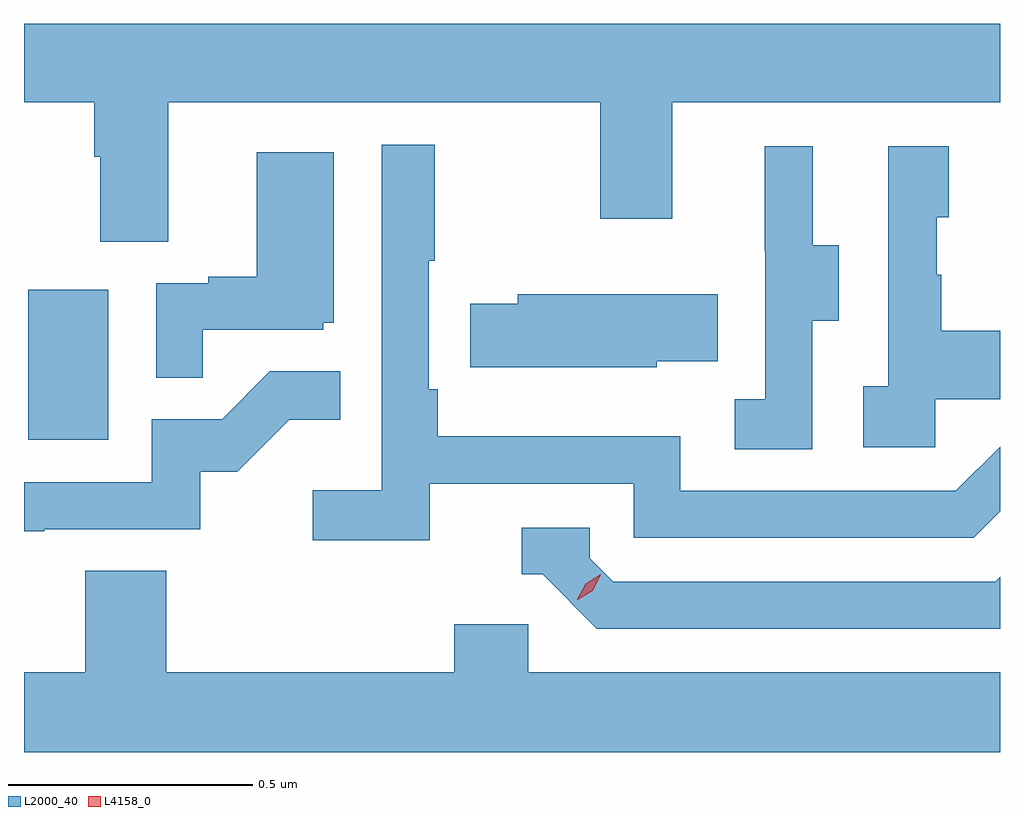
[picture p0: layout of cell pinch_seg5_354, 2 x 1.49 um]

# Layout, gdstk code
import gdstk
lib = gdstk.Library(unit=1e-6, precision=1e-09)
def R(c, l, rs):  # rectangles x0, y0, x1, y1
    for r in rs: c.add(gdstk.rectangle(r[:2], r[2:], *l))
def P(c, l, *ps):  # polygons
    for p in ps: c.add(gdstk.Polygon(p, *l))
L2000_40 = (2000, 40)
L4158_0 = (4158, 0)

pinch_seg5_354 = lib.new_cell('pinch_seg5_354')
R(pinch_seg5_354, L2000_40, [(963.854,880.044,964.018,880.351)])
P(pinch_seg5_354, L2000_40, [(964.141,880.736),(965.026,880.736),(965.026,880.497),(965.173,880.497),(965.173,880.736),(965.845,880.736),(965.845,880.896),(963.845,880.896),(963.845,880.736),(963.989,880.736),(963.989,880.624),(964.001,880.624),(964.001,880.45),(964.141,880.45)],
  [(964.676,879.954),(965.094,879.954),(965.094,879.843),(965.791,879.843),(965.845,879.897),(965.845,880.03),(965.754,879.939),(965.19,879.939),(965.19,880.051),(964.693,880.051),(964.693,880.147),(964.674,880.147),(964.674,880.411),(964.687,880.411),(964.687,880.648),(964.578,880.648),(964.578,879.94),(964.437,879.94),(964.437,879.838),(964.676,879.838)],
  [(965.46,880.288),(965.515,880.288),(965.515,880.443),(965.461,880.443),(965.461,880.645),(965.363,880.645),(965.363,880.431),(965.364,880.431),(965.364,880.127),(965.301,880.127),(965.301,880.024),(965.46,880.024)],
  [(965.712,880.127),(965.845,880.127),(965.845,880.267),(965.725,880.267),(965.725,880.382),(965.715,880.382),(965.715,880.5),(965.74,880.5),(965.74,880.645),(965.616,880.645),(965.616,880.154),(965.565,880.154),(965.565,880.029),(965.712,880.029)],
  [(964.211,880.269),(964.458,880.269),(964.458,880.284),(964.48,880.284),(964.48,880.633),(964.322,880.633),(964.322,880.378),(964.223,880.378),(964.223,880.365),(964.116,880.365),(964.116,880.171),(964.211,880.171)],
  [(965.142,880.205),(965.267,880.205),(965.267,880.342),(964.857,880.342),(964.857,880.323),(964.759,880.323),(964.759,880.193),(965.142,880.193)],
  [(963.887,879.861),(964.206,879.861),(964.206,879.978),(964.282,879.978),(964.389,880.085),(964.493,880.085),(964.493,880.184),(964.349,880.184),(964.251,880.086),(964.107,880.086),(964.107,879.957),(963.845,879.957),(963.845,879.856),(963.887,879.856)],
  [(965.845,879.763),(965.835,879.753),(965.052,879.753),(965.004,879.801),(965.004,879.864),(964.865,879.864),(964.865,879.768),(964.908,879.768),(965.019,879.657),(965.845,879.657)],
  [(965.845,879.568),(964.878,879.568),(964.878,879.666),(964.727,879.666),(964.727,879.568),(964.136,879.568),(964.136,879.776),(963.971,879.776),(963.971,879.568),(963.845,879.568),(963.845,879.404),(965.845,879.404)])
P(pinch_seg5_354, L4158_0, [(964.979,879.716),(964.979,879.717),(964.996,879.749),(965.027,879.768),(965.027,879.768),(965.027,879.768),(965.01,879.735),(964.98,879.716)])

lib.write_gds('pinch_seg5_354.gds')
